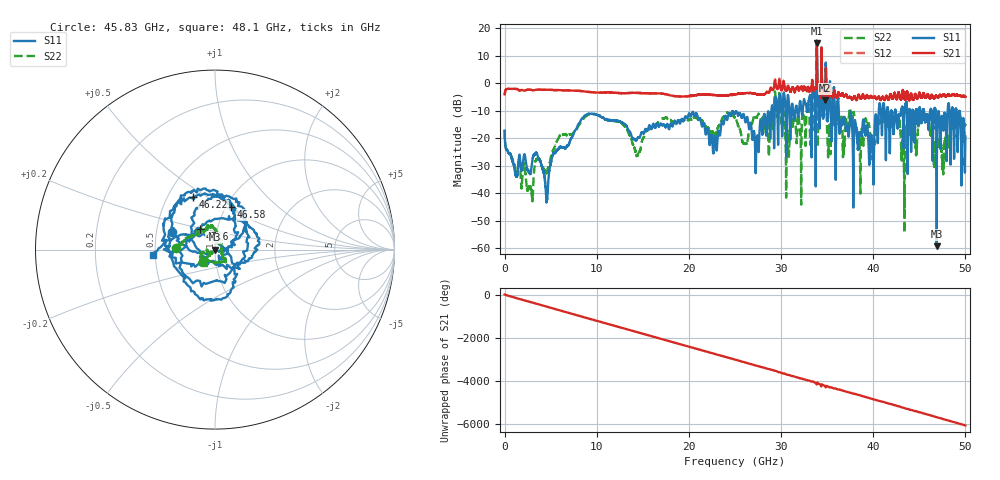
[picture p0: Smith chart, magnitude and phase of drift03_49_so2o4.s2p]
!Created with skrf (http://scikit-rf.org).
# Hz S RI R 50.0
!freq ReS11 ImS11 ReS21 ImS21 ReS12 ImS12 ReS22 ImS22
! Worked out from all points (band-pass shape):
!   10001 points, 300 kHz to 50 GHz, reference 50 ohm
!   highest |S21| = 14.58 dB at 33.88 GHz (marker M1); lowest = -6.2 dB at 34.79 GHz (marker M2)
!   |S21| within 3 dB of the highest: 33.86951 GHz to 33.88814 GHz (18.63 MHz wide, 0.055 % of centre); 34.37725 GHz to 34.38864 GHz (11.39 MHz wide, 0.0331 % of centre)
!   lowest |S11| = -59.4 dB at 46.89 GHz (marker M3), VSWR 1.00, Z = 50.1 - j0.0187 ohm
!   |S11| at or under -10 dB: start of sweep to 28.94 GHz; 36.26 GHz to 40.61 GHz (4.342 GHz wide, 11.3 % of centre); 46.74 GHz to 48.08 GHz (1.341 GHz wide, 2.83 % of centre) (the widest 3 of 61)
!   |S22| runs from -54.5 to 11.1 dB; largest |S21 - S12| = 0.83
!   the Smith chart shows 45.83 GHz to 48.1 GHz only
!   S11 on the Smith chart (normalised r, x): 45.83 GHz: 0.60, +0.13; 46.22 GHz: 0.67, +0.44; 46.58 GHz: 1.06, +0.54; 47.6 GHz: 0.83, +0.19; 48.1 GHz: 0.48, -0.03
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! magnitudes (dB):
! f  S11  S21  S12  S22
! 300 kHz  -17.3  -4.0  -4.1  -16.9
! 2.82 GHz  -32.7  -2.4  -2.4  -38.1
! 4.565 GHz  -42.3  -2.3  -2.3  -32.3
! 8.335 GHz  -13.1  -2.8  -2.8  -13.9
! 14.44 GHz  -19.9  -3.5  -3.5  -26.0
! 16.67 GHz  -15.4  -3.7  -3.7  -14.3
! 25 GHz  -11.0  -4.0  -4.0  -12.5
! 27.39 GHz  -19.5  -4.1  -4.1  -12.3
! 29.6 GHz  -10.4  -2.0  -2.1  -11.7
! 30.7 GHz  -5.6  -1.4  -1.4  -17.2
! 33.34 GHz  -14.0  -0.5  -0.5  -7.1
! 33.88 GHz  15.6  14.6  14.3  11.1
! 34.79 GHz  -3.1  -6.2  -4.9  -8.6
! 39.81 GHz  -19.1  -4.9  -4.8  -22.9
! 41.67 GHz  -12.1  -5.9  -5.9  -15.1
! 45.83 GHz  -11.6  -4.5  -4.4  -13.3
! 46.22 GHz  -10.0  -5.3  -5.3  -17.6
! 46.58 GHz  -11.9  -5.4  -5.4  -28.8
! 46.89 GHz  -59.4  -4.9  -4.9  -22.4
! 47.6 GHz  -17.0  -4.2  -4.2  -33.2
! 48.1 GHz  -9.2  -4.2  -4.2  -20.4
! 50 GHz  -19.3  -5.0  -4.9  -15.2
